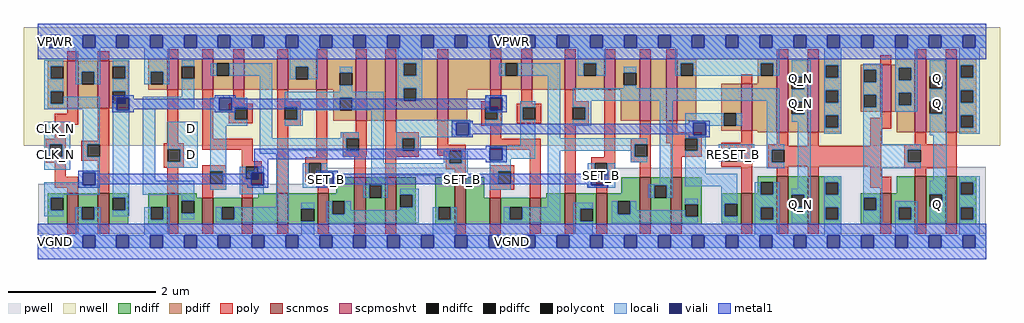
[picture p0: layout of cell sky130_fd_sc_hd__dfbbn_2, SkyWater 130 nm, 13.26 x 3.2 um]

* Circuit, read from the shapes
.subckt sky130_fd_sc_hd__dfbbn_2 CLK_N D RESET_B SET_B VGND VNB VPB VPWR Q Q_N
XM1 VGND CLK_N n1 VNB sky130_fd_pr__nfet_01v8 w=0.42 l=0.15
XM2 n2 n1 VGND VNB sky130_fd_pr__nfet_01v8 w=0.42 l=0.15
XM3 n3 D VGND VNB sky130_fd_pr__nfet_01v8 w=0.42 l=0.15
XM4 n4 n2 n3 VNB sky130_fd_pr__nfet_01v8 w=0.36 l=0.15
XM5 n5 n1 n4 VNB sky130_fd_pr__nfet_01v8 w=0.36 l=0.15
XM6 VGND n6 n5 VNB sky130_fd_pr__nfet_01v8 w=0.42 l=0.15
XM7 n7 SET_B VGND VNB sky130_fd_pr__nfet_01v8 w=0.42 l=0.15
XM8 n6 n4 n7 VNB sky130_fd_pr__nfet_01v8 w=0.64 l=0.15
XM9 n7 n8 n6 VNB sky130_fd_pr__nfet_01v8 w=0.64 l=0.15
XM10 n9 n6 VGND VNB sky130_fd_pr__nfet_01v8 w=0.64 l=0.15
XM11 n10 n1 n9 VNB sky130_fd_pr__nfet_01v8 w=0.36 l=0.15
XM12 n11 n2 n10 VNB sky130_fd_pr__nfet_01v8 w=0.36 l=0.15
XM13 VGND n12 n11 VNB sky130_fd_pr__nfet_01v8 w=0.42 l=0.15
XM14 n13 SET_B VGND VNB sky130_fd_pr__nfet_01v8 w=0.42 l=0.15
XM15 n12 n10 n13 VNB sky130_fd_pr__nfet_01v8 w=0.64 l=0.15
XM16 n13 n8 n12 VNB sky130_fd_pr__nfet_01v8 w=0.64 l=0.15
XM17 VGND RESET_B n8 VNB sky130_fd_pr__nfet_01v8 w=0.42 l=0.15
XM18 Q_N n12 VGND VNB sky130_fd_pr__nfet_01v8 w=0.65 l=0.15 m=2
XM19 VGND n12 n14 VNB sky130_fd_pr__nfet_01v8 w=0.42 l=0.15
XM20 Q n14 VGND VNB sky130_fd_pr__nfet_01v8 w=0.65 l=0.15 m=2
XM21 VPWR CLK_N n1 VPB sky130_fd_pr__pfet_01v8_hvt w=0.64 l=0.15
XM22 n2 n1 VPWR VPB sky130_fd_pr__pfet_01v8_hvt w=0.64 l=0.15
XM23 n3 D VPWR VPB sky130_fd_pr__pfet_01v8_hvt w=0.42 l=0.15
XM24 n4 n1 n3 VPB sky130_fd_pr__pfet_01v8_hvt w=0.42 l=0.15
XM25 n15 n2 n4 VPB sky130_fd_pr__pfet_01v8_hvt w=0.42 l=0.15
XM26 VPWR n6 n15 VPB sky130_fd_pr__pfet_01v8_hvt w=0.42 l=0.15
XM27 n6 SET_B VPWR VPB sky130_fd_pr__pfet_01v8_hvt w=0.42 l=0.15
XM28 n16 n4 n6 VPB sky130_fd_pr__pfet_01v8_hvt w=0.84 l=0.15
XM29 VPWR n8 n16 VPB sky130_fd_pr__pfet_01v8_hvt w=0.84 l=0.15
XM30 n17 n6 VPWR VPB sky130_fd_pr__pfet_01v8_hvt w=0.84 l=0.15
XM31 n10 n2 n17 VPB sky130_fd_pr__pfet_01v8_hvt w=0.42 l=0.15
XM32 n18 n1 n10 VPB sky130_fd_pr__pfet_01v8_hvt w=0.42 l=0.15
XM33 VPWR n12 n18 VPB sky130_fd_pr__pfet_01v8_hvt w=0.42 l=0.15
XM34 n12 SET_B VPWR VPB sky130_fd_pr__pfet_01v8_hvt w=0.42 l=0.15
XM35 n19 n10 n12 VPB sky130_fd_pr__pfet_01v8_hvt w=0.84 l=0.15
XM36 VPWR n8 n19 VPB sky130_fd_pr__pfet_01v8_hvt w=0.84 l=0.15
XM37 VPWR RESET_B n8 VPB sky130_fd_pr__pfet_01v8_hvt w=0.64 l=0.15
XM38 Q_N n12 VPWR VPB sky130_fd_pr__pfet_01v8_hvt w=1 l=0.15 m=2
XM39 VPWR n12 n14 VPB sky130_fd_pr__pfet_01v8_hvt w=0.64 l=0.15
XM40 Q n14 VPWR VPB sky130_fd_pr__pfet_01v8_hvt w=1 l=0.15 m=2
.ends

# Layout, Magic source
magic
tech sky130B
magscale 1 2
<< nwell >>
rect -38 261 2614 582
<< pwell >>
rect 1930 201 2575 203
rect 784 157 1238 201
rect 1559 157 2575 201
rect 1 21 2575 157
rect 30 -17 64 21
<< scnmos >>
rect 79 47 109 131
rect 163 47 193 131
rect 351 47 381 131
rect 446 47 476 119
rect 554 47 584 119
rect 650 47 680 131
rect 760 47 790 131
rect 860 47 890 175
rect 944 47 974 175
rect 1132 47 1162 175
rect 1227 47 1257 119
rect 1336 47 1366 119
rect 1431 47 1461 131
rect 1517 47 1547 131
rect 1635 47 1665 175
rect 1719 47 1749 175
rect 1911 47 1941 131
rect 2008 47 2038 177
rect 2092 47 2122 177
rect 2288 47 2318 131
rect 2383 47 2413 177
rect 2467 47 2497 177
<< scpmoshvt >>
rect 79 363 109 491
rect 163 363 193 491
rect 351 413 381 497
rect 446 413 476 497
rect 530 413 560 497
rect 650 413 680 497
rect 756 413 786 497
rect 864 329 894 497
rect 944 329 974 497
rect 1085 329 1115 497
rect 1229 413 1259 497
rect 1313 413 1343 497
rect 1431 413 1461 497
rect 1539 413 1569 497
rect 1635 329 1665 497
rect 1707 329 1737 497
rect 1911 301 1941 429
rect 2008 297 2038 497
rect 2092 297 2122 497
rect 2288 353 2318 481
rect 2383 297 2413 497
rect 2467 297 2497 497
<< ndiff >>
rect 27 119 79 131
rect 27 85 35 119
rect 69 85 79 119
rect 27 47 79 85
rect 109 93 163 131
rect 109 59 119 93
rect 153 59 163 93
rect 109 47 163 59
rect 193 119 245 131
rect 193 85 203 119
rect 237 85 245 119
rect 193 47 245 85
rect 299 93 351 131
rect 299 59 307 93
rect 341 59 351 93
rect 299 47 351 59
rect 381 119 431 131
rect 810 131 860 175
rect 599 119 650 131
rect 381 111 446 119
rect 381 77 391 111
rect 425 77 446 111
rect 381 47 446 77
rect 476 93 554 119
rect 476 59 499 93
rect 533 59 554 93
rect 476 47 554 59
rect 584 47 650 119
rect 680 89 760 131
rect 680 55 716 89
rect 750 55 760 89
rect 680 47 760 55
rect 790 109 860 131
rect 790 75 800 109
rect 834 75 860 109
rect 790 47 860 75
rect 890 153 944 175
rect 890 119 900 153
rect 934 119 944 153
rect 890 47 944 119
rect 974 127 1026 175
rect 974 93 984 127
rect 1018 93 1026 127
rect 974 47 1026 93
rect 1080 93 1132 175
rect 1080 59 1088 93
rect 1122 59 1132 93
rect 1080 47 1132 59
rect 1162 119 1212 175
rect 1585 131 1635 175
rect 1381 119 1431 131
rect 1162 47 1227 119
rect 1257 93 1336 119
rect 1257 59 1282 93
rect 1316 59 1336 93
rect 1257 47 1336 59
rect 1366 47 1431 119
rect 1461 89 1517 131
rect 1461 55 1473 89
rect 1507 55 1517 89
rect 1461 47 1517 55
rect 1547 109 1635 131
rect 1547 75 1575 109
rect 1609 75 1635 109
rect 1547 47 1635 75
rect 1665 153 1719 175
rect 1665 119 1675 153
rect 1709 119 1719 153
rect 1665 47 1719 119
rect 1749 101 1804 175
rect 1956 161 2008 177
rect 1956 131 1964 161
rect 1749 67 1759 101
rect 1793 67 1804 101
rect 1749 47 1804 67
rect 1858 103 1911 131
rect 1858 69 1866 103
rect 1900 69 1911 103
rect 1858 47 1911 69
rect 1941 127 1964 131
rect 1998 127 2008 161
rect 1941 93 2008 127
rect 1941 59 1964 93
rect 1998 59 2008 93
rect 1941 47 2008 59
rect 2038 127 2092 177
rect 2038 93 2048 127
rect 2082 93 2092 127
rect 2038 47 2092 93
rect 2122 161 2182 177
rect 2122 127 2140 161
rect 2174 127 2182 161
rect 2333 131 2383 177
rect 2122 93 2182 127
rect 2122 59 2140 93
rect 2174 59 2182 93
rect 2122 47 2182 59
rect 2236 119 2288 131
rect 2236 85 2244 119
rect 2278 85 2288 119
rect 2236 47 2288 85
rect 2318 93 2383 131
rect 2318 59 2339 93
rect 2373 59 2383 93
rect 2318 47 2383 59
rect 2413 129 2467 177
rect 2413 95 2423 129
rect 2457 95 2467 129
rect 2413 47 2467 95
rect 2497 161 2549 177
rect 2497 127 2507 161
rect 2541 127 2549 161
rect 2497 93 2549 127
rect 2497 59 2507 93
rect 2541 59 2549 93
rect 2497 47 2549 59
<< pdiff >>
rect 27 477 79 491
rect 27 443 35 477
rect 69 443 79 477
rect 27 409 79 443
rect 27 375 35 409
rect 69 375 79 409
rect 27 363 79 375
rect 109 461 163 491
rect 109 427 119 461
rect 153 427 163 461
rect 109 363 163 427
rect 193 477 245 491
rect 193 443 203 477
rect 237 443 245 477
rect 193 409 245 443
rect 299 461 351 497
rect 299 427 307 461
rect 341 427 351 461
rect 299 413 351 427
rect 381 477 446 497
rect 381 443 391 477
rect 425 443 446 477
rect 381 413 446 443
rect 476 484 530 497
rect 476 450 486 484
rect 520 450 530 484
rect 476 413 530 450
rect 560 413 650 497
rect 680 475 756 497
rect 680 441 700 475
rect 734 441 756 475
rect 680 413 756 441
rect 786 459 864 497
rect 786 425 820 459
rect 854 425 864 459
rect 786 413 864 425
rect 193 375 203 409
rect 237 375 245 409
rect 193 363 245 375
rect 802 391 864 413
rect 802 357 820 391
rect 854 357 864 391
rect 802 329 864 357
rect 894 329 944 497
rect 974 485 1085 497
rect 974 451 994 485
rect 1028 451 1085 485
rect 974 417 1085 451
rect 974 383 994 417
rect 1028 383 1085 417
rect 974 329 1085 383
rect 1115 413 1229 497
rect 1259 484 1313 497
rect 1259 450 1269 484
rect 1303 450 1313 484
rect 1259 413 1313 450
rect 1343 413 1431 497
rect 1461 485 1539 497
rect 1461 451 1483 485
rect 1517 451 1539 485
rect 1461 413 1539 451
rect 1569 459 1635 497
rect 1569 425 1591 459
rect 1625 425 1635 459
rect 1569 413 1635 425
rect 1115 329 1167 413
rect 1584 329 1635 413
rect 1665 329 1707 497
rect 1737 485 1789 497
rect 1737 451 1747 485
rect 1781 451 1789 485
rect 1956 485 2008 497
rect 1737 329 1789 451
rect 1956 451 1964 485
rect 1998 451 2008 485
rect 1956 429 2008 451
rect 1856 349 1911 429
rect 1856 315 1864 349
rect 1898 315 1911 349
rect 1856 301 1911 315
rect 1941 301 2008 429
rect 1956 297 2008 301
rect 2038 448 2092 497
rect 2038 414 2048 448
rect 2082 414 2092 448
rect 2038 380 2092 414
rect 2038 346 2048 380
rect 2082 346 2092 380
rect 2038 297 2092 346
rect 2122 479 2182 497
rect 2333 481 2383 497
rect 2122 445 2140 479
rect 2174 445 2182 479
rect 2122 411 2182 445
rect 2122 377 2140 411
rect 2174 377 2182 411
rect 2122 343 2182 377
rect 2236 467 2288 481
rect 2236 433 2244 467
rect 2278 433 2288 467
rect 2236 399 2288 433
rect 2236 365 2244 399
rect 2278 365 2288 399
rect 2236 353 2288 365
rect 2318 473 2383 481
rect 2318 439 2339 473
rect 2373 439 2383 473
rect 2318 405 2383 439
rect 2318 371 2339 405
rect 2373 371 2383 405
rect 2318 353 2383 371
rect 2122 309 2140 343
rect 2174 309 2182 343
rect 2122 297 2182 309
rect 2333 297 2383 353
rect 2413 449 2467 497
rect 2413 415 2423 449
rect 2457 415 2467 449
rect 2413 381 2467 415
rect 2413 347 2423 381
rect 2457 347 2467 381
rect 2413 297 2467 347
rect 2497 479 2549 497
rect 2497 445 2507 479
rect 2541 445 2549 479
rect 2497 411 2549 445
rect 2497 377 2507 411
rect 2541 377 2549 411
rect 2497 343 2549 377
rect 2497 309 2507 343
rect 2541 309 2549 343
rect 2497 297 2549 309
<< ndiffc >>
rect 35 85 69 119
rect 119 59 153 93
rect 203 85 237 119
rect 307 59 341 93
rect 391 77 425 111
rect 499 59 533 93
rect 716 55 750 89
rect 800 75 834 109
rect 900 119 934 153
rect 984 93 1018 127
rect 1088 59 1122 93
rect 1282 59 1316 93
rect 1473 55 1507 89
rect 1575 75 1609 109
rect 1675 119 1709 153
rect 1759 67 1793 101
rect 1866 69 1900 103
rect 1964 127 1998 161
rect 1964 59 1998 93
rect 2048 93 2082 127
rect 2140 127 2174 161
rect 2140 59 2174 93
rect 2244 85 2278 119
rect 2339 59 2373 93
rect 2423 95 2457 129
rect 2507 127 2541 161
rect 2507 59 2541 93
<< pdiffc >>
rect 35 443 69 477
rect 35 375 69 409
rect 119 427 153 461
rect 203 443 237 477
rect 307 427 341 461
rect 391 443 425 477
rect 486 450 520 484
rect 700 441 734 475
rect 820 425 854 459
rect 203 375 237 409
rect 820 357 854 391
rect 994 451 1028 485
rect 994 383 1028 417
rect 1269 450 1303 484
rect 1483 451 1517 485
rect 1591 425 1625 459
rect 1747 451 1781 485
rect 1964 451 1998 485
rect 1864 315 1898 349
rect 2048 414 2082 448
rect 2048 346 2082 380
rect 2140 445 2174 479
rect 2140 377 2174 411
rect 2244 433 2278 467
rect 2244 365 2278 399
rect 2339 439 2373 473
rect 2339 371 2373 405
rect 2140 309 2174 343
rect 2423 415 2457 449
rect 2423 347 2457 381
rect 2507 445 2541 479
rect 2507 377 2541 411
rect 2507 309 2541 343
<< poly >>
rect 79 491 109 517
rect 163 491 193 517
rect 351 497 381 523
rect 446 497 476 523
rect 530 497 560 523
rect 650 497 680 523
rect 756 497 786 523
rect 864 497 894 523
rect 944 497 974 523
rect 1085 497 1115 523
rect 1229 497 1259 523
rect 1313 497 1343 523
rect 1431 497 1461 523
rect 1539 497 1569 523
rect 1635 497 1665 523
rect 1707 497 1737 523
rect 2008 497 2038 523
rect 2092 497 2122 523
rect 79 348 109 363
rect 46 318 109 348
rect 46 280 76 318
rect 21 264 76 280
rect 163 274 193 363
rect 21 230 32 264
rect 66 230 76 264
rect 21 214 76 230
rect 118 264 193 274
rect 351 267 381 413
rect 446 279 476 413
rect 530 375 560 413
rect 650 381 680 413
rect 518 365 584 375
rect 518 331 534 365
rect 568 331 584 365
rect 518 321 584 331
rect 650 365 714 381
rect 650 331 670 365
rect 704 331 714 365
rect 650 315 714 331
rect 118 230 134 264
rect 168 230 193 264
rect 118 220 193 230
rect 46 176 76 214
rect 46 146 109 176
rect 79 131 109 146
rect 163 131 193 220
rect 342 251 396 267
rect 342 217 352 251
rect 386 217 396 251
rect 446 249 584 279
rect 342 201 396 217
rect 554 219 584 249
rect 351 131 381 201
rect 446 191 512 207
rect 446 157 468 191
rect 502 157 512 191
rect 446 141 512 157
rect 554 203 608 219
rect 554 169 564 203
rect 598 169 608 203
rect 554 153 608 169
rect 446 119 476 141
rect 554 119 584 153
rect 650 131 680 315
rect 756 229 786 413
rect 1229 381 1259 413
rect 1205 365 1259 381
rect 1313 375 1343 413
rect 1431 381 1461 413
rect 1205 331 1215 365
rect 1249 331 1259 365
rect 864 297 894 329
rect 828 281 894 297
rect 828 247 838 281
rect 872 247 894 281
rect 828 231 894 247
rect 944 297 974 329
rect 944 281 1034 297
rect 944 247 990 281
rect 1024 247 1034 281
rect 944 231 1034 247
rect 1085 263 1115 329
rect 1205 315 1259 331
rect 1301 365 1367 375
rect 1301 331 1317 365
rect 1351 331 1367 365
rect 1301 321 1367 331
rect 1431 365 1497 381
rect 1431 331 1453 365
rect 1487 331 1497 365
rect 1229 279 1259 315
rect 1431 315 1497 331
rect 1085 247 1162 263
rect 1229 249 1366 279
rect 1085 233 1118 247
rect 726 213 786 229
rect 726 179 736 213
rect 770 193 786 213
rect 770 179 790 193
rect 726 163 790 179
rect 860 175 890 231
rect 944 175 974 231
rect 1108 213 1118 233
rect 1152 213 1162 247
rect 1108 197 1162 213
rect 1132 175 1162 197
rect 1227 191 1294 207
rect 760 131 790 163
rect 1227 157 1250 191
rect 1284 157 1294 191
rect 1227 141 1294 157
rect 1227 119 1257 141
rect 1336 119 1366 249
rect 1431 131 1461 315
rect 1539 229 1569 413
rect 1911 429 1941 455
rect 1635 281 1665 329
rect 1503 213 1569 229
rect 1611 265 1665 281
rect 1707 297 1737 329
rect 1707 281 1803 297
rect 1707 267 1759 281
rect 1611 231 1621 265
rect 1655 231 1665 265
rect 1611 215 1665 231
rect 1503 179 1513 213
rect 1547 179 1569 213
rect 1503 163 1569 179
rect 1635 175 1665 215
rect 1719 247 1759 267
rect 1793 247 1803 281
rect 1911 269 1941 301
rect 2288 481 2318 507
rect 2383 497 2413 523
rect 2467 497 2497 523
rect 2288 337 2318 353
rect 2262 307 2318 337
rect 1719 231 1803 247
rect 1856 253 1941 269
rect 2008 265 2038 297
rect 1719 175 1749 231
rect 1856 219 1866 253
rect 1900 219 1941 253
rect 1856 203 1941 219
rect 1517 131 1547 163
rect 1911 131 1941 203
rect 1984 259 2038 265
rect 2092 259 2122 297
rect 2262 259 2292 307
rect 2383 265 2413 297
rect 2467 265 2497 297
rect 1984 249 2292 259
rect 1984 215 1994 249
rect 2028 215 2292 249
rect 1984 205 2292 215
rect 1984 199 2038 205
rect 2008 177 2038 199
rect 2092 177 2122 205
rect 2262 176 2292 205
rect 2354 249 2497 265
rect 2354 215 2364 249
rect 2398 215 2497 249
rect 2354 199 2497 215
rect 2383 177 2413 199
rect 2467 177 2497 199
rect 2262 146 2318 176
rect 2288 131 2318 146
rect 79 21 109 47
rect 163 21 193 47
rect 351 21 381 47
rect 446 21 476 47
rect 554 21 584 47
rect 650 21 680 47
rect 760 21 790 47
rect 860 21 890 47
rect 944 21 974 47
rect 1132 21 1162 47
rect 1227 21 1257 47
rect 1336 21 1366 47
rect 1431 21 1461 47
rect 1517 21 1547 47
rect 1635 21 1665 47
rect 1719 21 1749 47
rect 1911 21 1941 47
rect 2008 21 2038 47
rect 2092 21 2122 47
rect 2288 21 2318 47
rect 2383 21 2413 47
rect 2467 21 2497 47
<< polycont >>
rect 32 230 66 264
rect 534 331 568 365
rect 670 331 704 365
rect 134 230 168 264
rect 352 217 386 251
rect 468 157 502 191
rect 564 169 598 203
rect 1215 331 1249 365
rect 838 247 872 281
rect 990 247 1024 281
rect 1317 331 1351 365
rect 1453 331 1487 365
rect 736 179 770 213
rect 1118 213 1152 247
rect 1250 157 1284 191
rect 1621 231 1655 265
rect 1513 179 1547 213
rect 1759 247 1793 281
rect 1866 219 1900 253
rect 1994 215 2028 249
rect 2364 215 2398 249
<< locali >>
rect 0 527 29 561
rect 63 527 121 561
rect 155 527 213 561
rect 247 527 305 561
rect 339 527 397 561
rect 431 527 489 561
rect 523 527 581 561
rect 615 527 673 561
rect 707 527 765 561
rect 799 527 857 561
rect 891 527 949 561
rect 983 527 1041 561
rect 1075 527 1133 561
rect 1167 527 1225 561
rect 1259 527 1317 561
rect 1351 527 1409 561
rect 1443 527 1501 561
rect 1535 527 1593 561
rect 1627 527 1685 561
rect 1719 527 1777 561
rect 1811 527 1869 561
rect 1903 527 1961 561
rect 1995 527 2053 561
rect 2087 527 2145 561
rect 2179 527 2237 561
rect 2271 527 2329 561
rect 2363 527 2421 561
rect 2455 527 2513 561
rect 2547 527 2576 561
rect 17 477 69 493
rect 17 443 35 477
rect 17 409 69 443
rect 103 461 169 527
rect 103 427 119 461
rect 153 427 169 461
rect 203 477 248 493
rect 237 443 248 477
rect 17 375 35 409
rect 203 409 248 443
rect 289 461 357 527
rect 289 427 307 461
rect 341 427 357 461
rect 391 477 425 493
rect 470 450 486 484
rect 520 450 636 484
rect 69 375 168 393
rect 17 359 168 375
rect 17 264 88 325
rect 17 230 32 264
rect 66 230 88 264
rect 17 195 88 230
rect 122 264 168 359
rect 122 230 134 264
rect 122 187 168 230
rect 17 153 122 161
rect 156 153 168 187
rect 17 127 168 153
rect 237 391 248 409
rect 391 393 425 443
rect 203 357 214 375
rect 17 119 69 127
rect 17 85 35 119
rect 203 119 248 357
rect 284 359 425 393
rect 284 165 318 359
rect 468 357 492 391
rect 526 365 568 391
rect 526 357 534 365
rect 468 331 534 357
rect 352 251 434 325
rect 386 217 434 251
rect 352 201 434 217
rect 468 315 568 331
rect 468 191 512 315
rect 602 281 636 450
rect 684 475 760 527
rect 978 485 1044 527
rect 684 441 700 475
rect 734 441 760 475
rect 820 459 854 475
rect 820 407 854 425
rect 978 451 994 485
rect 1028 451 1044 485
rect 1467 485 1543 527
rect 978 417 1044 451
rect 1253 450 1269 484
rect 1303 450 1419 484
rect 1467 451 1483 485
rect 1517 451 1543 485
rect 1731 485 2014 527
rect 1591 459 1625 475
rect 670 391 940 407
rect 670 365 820 391
rect 704 357 820 365
rect 854 357 940 391
rect 978 383 994 417
rect 1028 383 1044 417
rect 1215 391 1262 397
rect 704 331 720 357
rect 670 315 720 331
rect 822 281 872 297
rect 602 247 838 281
rect 602 239 682 247
rect 284 127 425 165
rect 502 157 512 191
rect 468 141 512 157
rect 548 169 564 203
rect 598 187 614 203
rect 548 153 580 169
rect 548 129 614 153
rect 17 69 69 85
rect 103 59 119 93
rect 153 59 169 93
rect 237 85 248 119
rect 391 111 425 127
rect 203 69 248 85
rect 103 17 169 59
rect 289 59 307 93
rect 341 59 357 93
rect 648 93 682 239
rect 828 231 872 247
rect 906 213 940 357
rect 1215 365 1228 391
rect 1249 331 1262 357
rect 974 323 1175 331
rect 974 289 1136 323
rect 1170 289 1175 323
rect 1215 315 1262 331
rect 1310 365 1351 381
rect 1310 331 1317 365
rect 974 283 1175 289
rect 974 281 1040 283
rect 974 247 990 281
rect 1024 247 1040 281
rect 1310 261 1351 331
rect 1227 255 1351 261
rect 1102 213 1118 247
rect 1152 213 1168 247
rect 720 179 736 213
rect 770 193 786 213
rect 770 187 802 193
rect 720 153 768 179
rect 906 179 1168 213
rect 1227 221 1228 255
rect 1262 225 1351 255
rect 1385 281 1419 450
rect 1731 451 1747 485
rect 1781 451 1964 485
rect 1998 451 2014 485
rect 1591 417 1625 425
rect 2048 448 2100 493
rect 1453 383 2014 417
rect 1453 365 1503 383
rect 1487 331 1503 365
rect 1453 315 1503 331
rect 1385 265 1655 281
rect 1385 247 1621 265
rect 1262 221 1284 225
rect 1227 191 1284 221
rect 906 153 950 179
rect 720 147 802 153
rect 884 119 900 153
rect 934 119 950 153
rect 1227 157 1250 191
rect 984 127 1034 143
rect 1227 141 1284 157
rect 391 61 425 77
rect 289 17 357 59
rect 483 59 499 93
rect 533 59 682 93
rect 483 53 682 59
rect 716 89 750 105
rect 716 17 750 55
rect 784 75 800 109
rect 834 85 850 109
rect 1018 93 1034 127
rect 1385 93 1419 247
rect 1611 231 1621 247
rect 1611 215 1655 231
rect 1494 187 1513 213
rect 1494 153 1504 187
rect 1547 179 1569 213
rect 1538 153 1569 179
rect 1689 156 1725 383
rect 1494 147 1569 153
rect 1659 153 1725 156
rect 1659 119 1675 153
rect 1709 119 1725 153
rect 1759 323 1864 349
rect 1759 289 1780 323
rect 1814 315 1864 323
rect 1898 315 1914 349
rect 1759 281 1814 289
rect 1793 247 1814 281
rect 1980 265 2014 383
rect 2082 414 2100 448
rect 2048 380 2100 414
rect 2082 346 2100 380
rect 2048 326 2100 346
rect 1759 185 1814 247
rect 1850 253 1946 265
rect 1850 219 1866 253
rect 1900 219 1946 253
rect 1980 249 2028 265
rect 1980 215 1994 249
rect 1980 199 2028 215
rect 1759 151 1900 185
rect 984 85 1034 93
rect 834 75 1034 85
rect 784 51 1034 75
rect 1072 59 1088 93
rect 1122 59 1138 93
rect 1072 17 1138 59
rect 1266 59 1282 93
rect 1316 59 1419 93
rect 1266 53 1419 59
rect 1455 89 1507 105
rect 1455 55 1473 89
rect 1455 17 1507 55
rect 1559 75 1575 109
rect 1609 85 1625 109
rect 1759 101 1793 117
rect 1609 75 1759 85
rect 1559 67 1759 75
rect 1559 51 1793 67
rect 1856 103 1900 151
rect 1856 69 1866 103
rect 1856 53 1900 69
rect 1948 127 1964 161
rect 1998 127 2014 161
rect 2064 143 2100 326
rect 2136 479 2182 527
rect 2136 445 2140 479
rect 2174 445 2182 479
rect 2136 411 2182 445
rect 2136 377 2140 411
rect 2174 377 2182 411
rect 2136 343 2182 377
rect 2136 309 2140 343
rect 2174 309 2182 343
rect 2136 293 2182 309
rect 2243 467 2294 483
rect 2243 433 2244 467
rect 2278 433 2294 467
rect 2243 399 2294 433
rect 2243 365 2244 399
rect 2278 365 2294 399
rect 2243 265 2294 365
rect 2330 473 2389 527
rect 2330 439 2339 473
rect 2373 439 2389 473
rect 2330 405 2389 439
rect 2330 371 2339 405
rect 2373 371 2389 405
rect 2330 353 2389 371
rect 2423 449 2469 493
rect 2457 415 2469 449
rect 2423 381 2469 415
rect 2457 347 2469 381
rect 2423 289 2469 347
rect 2503 479 2559 527
rect 2503 445 2507 479
rect 2541 445 2559 479
rect 2503 411 2559 445
rect 2503 377 2507 411
rect 2541 377 2559 411
rect 2503 343 2559 377
rect 2503 309 2507 343
rect 2541 309 2559 343
rect 2503 293 2559 309
rect 2243 249 2398 265
rect 2243 215 2364 249
rect 2243 199 2398 215
rect 1948 93 2014 127
rect 1948 59 1964 93
rect 1998 59 2014 93
rect 1948 17 2014 59
rect 2048 127 2100 143
rect 2082 93 2100 127
rect 2048 51 2100 93
rect 2136 161 2182 177
rect 2136 127 2140 161
rect 2174 127 2182 161
rect 2136 93 2182 127
rect 2136 59 2140 93
rect 2174 59 2182 93
rect 2136 17 2182 59
rect 2243 119 2294 199
rect 2432 165 2469 289
rect 2243 85 2244 119
rect 2278 85 2294 119
rect 2423 129 2469 165
rect 2243 51 2294 85
rect 2330 93 2389 109
rect 2330 59 2339 93
rect 2373 59 2389 93
rect 2330 17 2389 59
rect 2457 95 2469 129
rect 2423 51 2469 95
rect 2503 161 2559 177
rect 2503 127 2507 161
rect 2541 127 2559 161
rect 2503 93 2559 127
rect 2503 59 2507 93
rect 2541 59 2559 93
rect 2503 17 2559 59
rect 0 -17 29 17
rect 63 -17 121 17
rect 155 -17 213 17
rect 247 -17 305 17
rect 339 -17 397 17
rect 431 -17 489 17
rect 523 -17 581 17
rect 615 -17 673 17
rect 707 -17 765 17
rect 799 -17 857 17
rect 891 -17 949 17
rect 983 -17 1041 17
rect 1075 -17 1133 17
rect 1167 -17 1225 17
rect 1259 -17 1317 17
rect 1351 -17 1409 17
rect 1443 -17 1501 17
rect 1535 -17 1593 17
rect 1627 -17 1685 17
rect 1719 -17 1777 17
rect 1811 -17 1869 17
rect 1903 -17 1961 17
rect 1995 -17 2053 17
rect 2087 -17 2145 17
rect 2179 -17 2237 17
rect 2271 -17 2329 17
rect 2363 -17 2421 17
rect 2455 -17 2513 17
rect 2547 -17 2576 17
<< viali >>
rect 29 527 63 561
rect 121 527 155 561
rect 213 527 247 561
rect 305 527 339 561
rect 397 527 431 561
rect 489 527 523 561
rect 581 527 615 561
rect 673 527 707 561
rect 765 527 799 561
rect 857 527 891 561
rect 949 527 983 561
rect 1041 527 1075 561
rect 1133 527 1167 561
rect 1225 527 1259 561
rect 1317 527 1351 561
rect 1409 527 1443 561
rect 1501 527 1535 561
rect 1593 527 1627 561
rect 1685 527 1719 561
rect 1777 527 1811 561
rect 1869 527 1903 561
rect 1961 527 1995 561
rect 2053 527 2087 561
rect 2145 527 2179 561
rect 2237 527 2271 561
rect 2329 527 2363 561
rect 2421 527 2455 561
rect 2513 527 2547 561
rect 122 153 156 187
rect 214 375 237 391
rect 237 375 248 391
rect 214 357 248 375
rect 492 357 526 391
rect 580 169 598 187
rect 598 169 614 187
rect 580 153 614 169
rect 1228 365 1262 391
rect 1228 357 1249 365
rect 1249 357 1262 365
rect 1136 289 1170 323
rect 768 179 770 187
rect 770 179 802 187
rect 768 153 802 179
rect 1228 221 1262 255
rect 1504 179 1513 187
rect 1513 179 1538 187
rect 1504 153 1538 179
rect 1780 289 1814 323
rect 29 -17 63 17
rect 121 -17 155 17
rect 213 -17 247 17
rect 305 -17 339 17
rect 397 -17 431 17
rect 489 -17 523 17
rect 581 -17 615 17
rect 673 -17 707 17
rect 765 -17 799 17
rect 857 -17 891 17
rect 949 -17 983 17
rect 1041 -17 1075 17
rect 1133 -17 1167 17
rect 1225 -17 1259 17
rect 1317 -17 1351 17
rect 1409 -17 1443 17
rect 1501 -17 1535 17
rect 1593 -17 1627 17
rect 1685 -17 1719 17
rect 1777 -17 1811 17
rect 1869 -17 1903 17
rect 1961 -17 1995 17
rect 2053 -17 2087 17
rect 2145 -17 2179 17
rect 2237 -17 2271 17
rect 2329 -17 2363 17
rect 2421 -17 2455 17
rect 2513 -17 2547 17
<< metal1 >>
rect 0 561 2576 592
rect 0 527 29 561
rect 63 527 121 561
rect 155 527 213 561
rect 247 527 305 561
rect 339 527 397 561
rect 431 527 489 561
rect 523 527 581 561
rect 615 527 673 561
rect 707 527 765 561
rect 799 527 857 561
rect 891 527 949 561
rect 983 527 1041 561
rect 1075 527 1133 561
rect 1167 527 1225 561
rect 1259 527 1317 561
rect 1351 527 1409 561
rect 1443 527 1501 561
rect 1535 527 1593 561
rect 1627 527 1685 561
rect 1719 527 1777 561
rect 1811 527 1869 561
rect 1903 527 1961 561
rect 1995 527 2053 561
rect 2087 527 2145 561
rect 2179 527 2237 561
rect 2271 527 2329 561
rect 2363 527 2421 561
rect 2455 527 2513 561
rect 2547 527 2576 561
rect 0 496 2576 527
rect 202 391 260 397
rect 202 357 214 391
rect 248 388 260 391
rect 480 391 538 397
rect 480 388 492 391
rect 248 360 492 388
rect 248 357 260 360
rect 202 351 260 357
rect 480 357 492 360
rect 526 388 538 391
rect 1216 391 1274 397
rect 1216 388 1228 391
rect 526 360 1228 388
rect 526 357 538 360
rect 480 351 538 357
rect 1216 357 1228 360
rect 1262 357 1274 391
rect 1216 351 1274 357
rect 1124 323 1182 329
rect 1124 289 1136 323
rect 1170 320 1182 323
rect 1768 323 1826 329
rect 1768 320 1780 323
rect 1170 292 1780 320
rect 1170 289 1182 292
rect 1124 283 1182 289
rect 1768 289 1780 292
rect 1814 289 1826 323
rect 1768 283 1826 289
rect 1216 255 1274 261
rect 1216 252 1228 255
rect 587 224 1228 252
rect 587 193 626 224
rect 1216 221 1228 224
rect 1262 221 1274 255
rect 1216 215 1274 221
rect 110 187 168 193
rect 110 153 122 187
rect 156 184 168 187
rect 568 187 626 193
rect 568 184 580 187
rect 156 156 580 184
rect 156 153 168 156
rect 110 147 168 153
rect 568 153 580 156
rect 614 153 626 187
rect 568 147 626 153
rect 756 187 814 193
rect 756 153 768 187
rect 802 184 814 187
rect 1492 187 1550 193
rect 1492 184 1504 187
rect 802 156 1504 184
rect 802 153 814 156
rect 756 147 814 153
rect 1492 153 1504 156
rect 1538 153 1550 187
rect 1492 147 1550 153
rect 0 17 2576 48
rect 0 -17 29 17
rect 63 -17 121 17
rect 155 -17 213 17
rect 247 -17 305 17
rect 339 -17 397 17
rect 431 -17 489 17
rect 523 -17 581 17
rect 615 -17 673 17
rect 707 -17 765 17
rect 799 -17 857 17
rect 891 -17 949 17
rect 983 -17 1041 17
rect 1075 -17 1133 17
rect 1167 -17 1225 17
rect 1259 -17 1317 17
rect 1351 -17 1409 17
rect 1443 -17 1501 17
rect 1535 -17 1593 17
rect 1627 -17 1685 17
rect 1719 -17 1777 17
rect 1811 -17 1869 17
rect 1903 -17 1961 17
rect 1995 -17 2053 17
rect 2087 -17 2145 17
rect 2179 -17 2237 17
rect 2271 -17 2329 17
rect 2363 -17 2421 17
rect 2455 -17 2513 17
rect 2547 -17 2576 17
rect 0 -48 2576 -17
<< labels >>
flabel locali s 1872 221 1906 255 0 FreeSans 400 0 0 0 RESET_B
port 3 nsew signal input
flabel locali s 30 -17 64 17 3 FreeSans 400 0 0 0 VGND
port 5 nsew ground bidirectional abutment
flabel locali s 30 221 64 255 0 FreeSans 400 0 0 0 CLK_N
port 1 nsew clock input
flabel locali s 30 289 64 323 0 FreeSans 400 0 0 0 CLK_N
port 1 nsew clock input
flabel locali s 768 153 802 187 0 FreeSans 400 0 0 0 SET_B
port 4 nsew signal input
flabel locali s 2428 85 2462 119 0 FreeSans 400 0 0 0 Q
port 9 nsew signal output
flabel locali s 2428 357 2462 391 0 FreeSans 400 0 0 0 Q
port 9 nsew signal output
flabel locali s 2428 425 2462 459 0 FreeSans 400 0 0 0 Q
port 9 nsew signal output
flabel locali s 30 527 64 561 3 FreeSans 400 0 0 0 VPWR
port 8 nsew power bidirectional abutment
flabel locali s 400 221 434 255 0 FreeSans 200 0 0 0 D
port 2 nsew signal input
flabel locali s 400 289 434 323 0 FreeSans 200 0 0 0 D
port 2 nsew signal input
flabel locali s 2056 425 2090 459 0 FreeSans 400 0 0 0 Q_N
port 10 nsew signal output
flabel locali s 2056 357 2090 391 0 FreeSans 400 0 0 0 Q_N
port 10 nsew signal output
flabel locali s 2056 85 2090 119 0 FreeSans 400 0 0 0 Q_N
port 10 nsew signal output
flabel metal1 s 30 -17 64 17 0 FreeSans 200 0 0 0 VGND
port 5 nsew ground bidirectional abutment
flabel metal1 s 30 527 64 561 0 FreeSans 200 0 0 0 VPWR
port 8 nsew power bidirectional abutment
flabel nwell s 30 527 64 561 3 FreeSans 400 0 0 0 VPB
port 7 nsew power bidirectional
flabel nwell s 47 544 47 544 0 FreeSans 200 0 0 0 VPB
flabel pwell s 30 -17 64 17 3 FreeSans 400 0 0 0 VNB
port 6 nsew ground bidirectional
flabel pwell s 47 0 47 0 0 FreeSans 200 0 0 0 VNB
rlabel comment s 0 0 0 0 4 dfbbn_2
rlabel locali s 1494 147 1569 213 1 SET_B
port 4 nsew signal input
rlabel metal1 s 1492 184 1550 193 1 SET_B
port 4 nsew signal input
rlabel metal1 s 1492 147 1550 156 1 SET_B
port 4 nsew signal input
rlabel metal1 s 756 184 814 193 1 SET_B
port 4 nsew signal input
rlabel metal1 s 756 156 1550 184 1 SET_B
port 4 nsew signal input
rlabel metal1 s 756 147 814 156 1 SET_B
port 4 nsew signal input
rlabel metal1 s 0 -48 2576 48 1 VGND
port 5 nsew ground bidirectional abutment
rlabel metal1 s 0 496 2576 592 1 VPWR
port 8 nsew power bidirectional abutment
<< properties >>
string FIXED_BBOX 0 0 2576 544
string GDS_END 3382204
string GDS_FILE $PDKPATH/libs.ref/sky130_fd_sc_hd/gds/sky130_fd_sc_hd.gds
string GDS_START 3362206
string LEFclass CORE
string LEFsite unithd
string LEFsymmetry X Y R90
<< end >>
